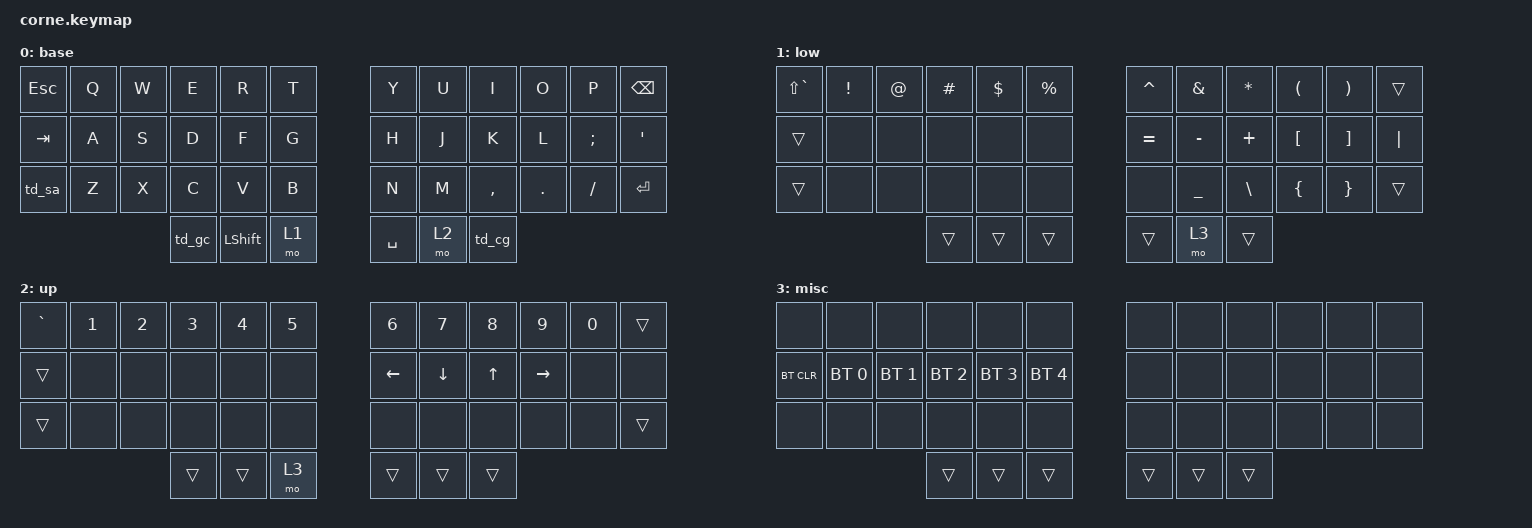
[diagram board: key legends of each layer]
/*
 * Copyright (c) 2020 The ZMK Contributors
 *
 * SPDX-License-Identifier: MIT
 */

#include <behaviors.dtsi>
#include <dt-bindings/zmk/keys.h>
#include <dt-bindings/zmk/bt.h>

#define LEFT_POSITIONS  0 1 2 3 4 5 12 13 14 15 16 17 24 25 26 27 28 29 36 37 38
#define RIGHT_POSITIONS 6 7 8 9 10 11 18 19 20 21 22 23 30 31 32 33 34 35 39 40 41
/* Key Positions
╭────────────────────────╮ ╭────────────────────────╮
│  0   1   2   3   4   5 │ │  6   7   8   9  10  11 │
│ 12  13  14  15  16  17 │ │ 18  19  20  21  22  23 │
│ 24  25  26  27  28  29 │ │ 30  31  32  33  34  35 │
╰───────────╮ 36  37  38 │ │ 39  40  41 ╭───────────╯
            ╰────────────╯ ╰────────────╯
*/

// Mouse Overrides
#define ZMK_MOUSE_DEFAULT_MOVE_VAL 2400
#define ZMK_MOUSE_DEFAULT_SCRL_VAL 40

// Layers
#define DEFAULT   0
#define LOWER     1
#define UPPER     2
#define MACRO     3

/ {

    behaviors {
        td_gc: tap_dance_lgui_lctrl {
            compatible = "zmk,behavior-tap-dance";
            #binding-cells = <0>;
            tapping-term-ms = <200>;
            bindings = <&kp LGUI>, <&kp LCTRL>;
        };
        td_cg: tap_dance_rctrl_rgui {
            compatible = "zmk,behavior-tap-dance";
            #binding-cells = <0>;
            tapping-term-ms = <200>;
            bindings = <&kp RCTRL>, <&kp RGUI>;
        };
        td_sa: tap_dance_lshft_lalt {
            compatible = "zmk,behavior-tap-dance";
            #binding-cells = <0>;
            tapping-term-ms = <200>;
            bindings = <&kp LSHFT>, <&kp LALT>;
        };
    };

    keymap {
      compatible = "zmk,keymap";

                default_layer {
                        display-name = "base";
                        bindings = <
    &kp ESC       &kp Q       &kp W       &kp E       &kp R       &kp T       &kp Y       &kp U       &kp I       &kp O       &kp P       &kp BSPC
    &kp TAB       &kp A       &kp S       &kp D       &kp F       &kp G       &kp H       &kp J       &kp K       &kp L       &kp SEMI    &kp SQT
    &td_sa        &kp Z       &kp X       &kp C       &kp V       &kp B       &kp N       &kp M       &kp COMMA   &kp DOT     &kp FSLH    &kp ENTER
                                          &td_gc      &kp LSHFT   &mo 1       &kp SPACE   &mo 2       &td_cg
                        >;
                };
                lower_layer {
                        display-name = "low";
                        bindings = <
    &kp LS(GRAVE) &kp EXCL    &kp AT      &kp HASH    &kp DLLR    &kp PRCNT   &kp CARET   &kp AMPS    &kp STAR    &kp LPAR    &kp RPAR    &trans
    &trans        &none       &none       &none       &none       &none       &kp EQUAL   &kp MINUS   &kp PLUS    &kp LBKT    &kp RBKT    &kp PIPE
    &trans        &none       &none       &none       &none       &none       &none       &kp UNDER   &kp BSLH    &kp LBRC    &kp RBRC    &trans
                                          &trans      &trans      &trans      &trans      &mo 3       &trans
                        >;
                };

                raise_layer {
                        display-name = "up";
                        bindings = <
    &kp GRAVE     &kp N1      &kp N2      &kp N3      &kp N4      &kp N5      &kp N6      &kp N7      &kp N8      &kp N9      &kp N0      &trans
    &trans        &none       &none       &none       &none       &none       &kp LEFT    &kp DOWN    &kp UP      &kp RIGHT   &none       &none
    &trans        &none       &none       &none       &none       &none       &none       &none       &none       &none       &none       &trans
                                          &trans      &trans      &mo 3       &trans      &trans      &trans
                        >;
                };

                misc {
                        display-name = "misc";
                        bindings = <
    &none        &none        &none        &none        &none        &none        &none       &none       &none       &none       &none       &none
    &bt BT_CLR  &bt BT_SEL 0 &bt BT_SEL 1 &bt BT_SEL 2 &bt BT_SEL 3 &bt BT_SEL 4 &none       &none       &none       &none       &none       &none
    &none        &none        &none        &none        &none        &none        &none       &none       &none       &none       &none       &none
                                           &trans       &trans       &trans       &trans      &trans      &trans
                        >;
                };
        };
};
